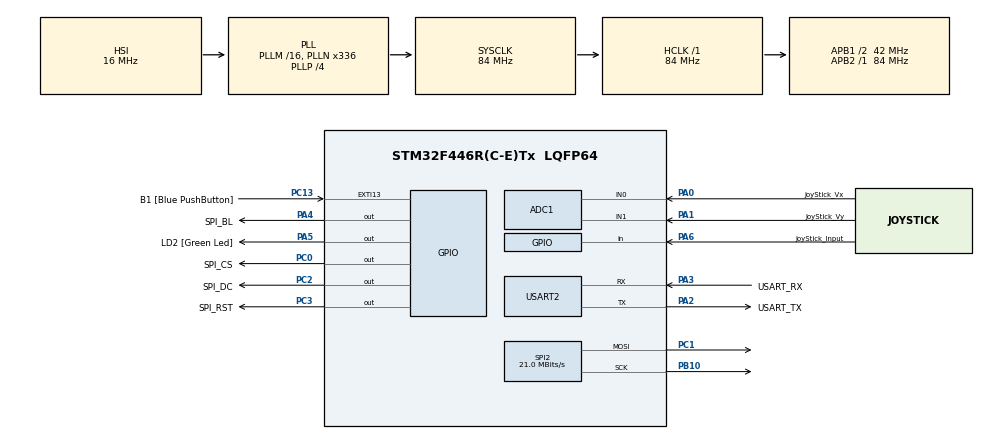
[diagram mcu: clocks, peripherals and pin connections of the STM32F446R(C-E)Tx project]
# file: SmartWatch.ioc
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ADC1.Channel-0\#ChannelRegularConversion=ADC_CHANNEL_0
ADC1.Channel-1\#ChannelRegularConversion=ADC_CHANNEL_1
ADC1.ContinuousConvMode=ENABLE
ADC1.DMAContinuousRequests=ENABLE
ADC1.NbrOfConversion=2
ADC1.NbrOfConversionFlag=1
ADC1.Rank-0\#ChannelRegularConversion=1
ADC1.Rank-1\#ChannelRegularConversion=2
ADC1.SamplingTime-0\#ChannelRegularConversion=ADC_SAMPLETIME_480CYCLES
ADC1.SamplingTime-1\#ChannelRegularConversion=ADC_SAMPLETIME_480CYCLES
ADC1.master=1
Dma.ADC1.1.Direction=DMA_PERIPH_TO_MEMORY
Dma.ADC1.1.FIFOMode=DMA_FIFOMODE_DISABLE
Dma.ADC1.1.Instance=DMA2_Stream0
Dma.ADC1.1.MemDataAlignment=DMA_MDATAALIGN_HALFWORD
Dma.ADC1.1.MemInc=DMA_MINC_ENABLE
Dma.ADC1.1.Mode=DMA_CIRCULAR
Dma.ADC1.1.PeriphDataAlignment=DMA_PDATAALIGN_HALFWORD
Dma.ADC1.1.PeriphInc=DMA_PINC_DISABLE
Dma.ADC1.1.Priority=DMA_PRIORITY_LOW
Dma.Request0=SPI2_TX
Dma.Request1=ADC1
Dma.SPI2_TX.0.Direction=DMA_MEMORY_TO_PERIPH
Dma.SPI2_TX.0.FIFOMode=DMA_FIFOMODE_DISABLE
Dma.SPI2_TX.0.Instance=DMA1_Stream4
Dma.SPI2_TX.0.MemDataAlignment=DMA_MDATAALIGN_BYTE
Dma.SPI2_TX.0.MemInc=DMA_MINC_ENABLE
Dma.SPI2_TX.0.Mode=DMA_NORMAL
Dma.SPI2_TX.0.PeriphDataAlignment=DMA_PDATAALIGN_BYTE
Dma.SPI2_TX.0.PeriphInc=DMA_PINC_DISABLE
Dma.SPI2_TX.0.Priority=DMA_PRIORITY_LOW
FREERTOS.Queues01=directionQueue,8,uint8_t,0,Dynamic,NULL,NULL
FREERTOS.Tasks01=timeTask,24,512,starttimeTask,Default,NULL,Dynamic,NULL,NULL;inputTask,40,128,StartInputTask,Default,NULL,Dynamic,NULL,NULL;LogicTask,40,128,StartLogicTask,Default,NULL,Dynamic,NULL,NULL
FREERTOS.configUSE_NEWLIB_REENTRANT=1
Mcu.Family=STM32F4
Mcu.Name=STM32F446R(C-E)Tx
Mcu.Package=LQFP64
NVIC.DMA1_Stream4_IRQn=true\:5\:0\:false\:false\:true\:true\:false\:true\:true
NVIC.DMA2_Stream0_IRQn=true\:5\:0\:false\:false\:true\:true\:false\:true\:true
NVIC.PriorityGroup=NVIC_PRIORITYGROUP_4
NVIC.TIM1_UP_TIM10_IRQn=true\:15\:0\:false\:false\:true\:false\:false\:true\:true
NVIC.TimeBase=TIM1_UP_TIM10_IRQn
NVIC.TimeBaseIP=TIM1
PA0-WKUP.GPIO_Label=JoyStick_Vx
PA0-WKUP.Signal=ADCx_IN0
PA1.GPIO_Label=JoyStick_Vy
PA1.Signal=ADCx_IN1
PA13.GPIO_Label=TMS
PA13.Mode=Serial_Wire
PA13.Signal=SYS_JTMS-SWDIO
PA14.GPIO_Label=TCK
PA14.Mode=Serial_Wire
PA14.Signal=SYS_JTCK-SWCLK
PA2.GPIO_Label=USART_TX
PA2.Mode=Asynchronous
PA2.Signal=USART2_TX
PA3.GPIO_Label=USART_RX
PA3.Mode=Asynchronous
PA3.Signal=USART2_RX
PA4.GPIO_Label=SPI_BL
PA4.PinState=GPIO_PIN_SET
PA4.Signal=GPIO_Output
PA5.GPIO_Label=LD2 [Green Led]
PA5.Signal=GPIO_Output
PA6.GPIO_Label=JoyStick_Input
PA6.GPIO_PuPd=GPIO_PULLUP
PA6.Signal=GPIO_Input
PB10.Mode=TX_Only_Simplex_Unidirect_Master
PB10.Signal=SPI2_SCK
PB3.GPIO_Label=SWO
PB3.Signal=SYS_JTDO-SWO
PC0.GPIO_Label=SPI_CS
PC0.GPIO_Speed=GPIO_SPEED_FREQ_HIGH
PC0.PinState=GPIO_PIN_SET
PC0.Signal=GPIO_Output
PC1.Mode=TX_Only_Simplex_Unidirect_Master
PC1.Signal=SPI2_MOSI
PC13.GPIO_Label=B1 [Blue PushButton]
PC13.GPIO_ModeDefaultEXTI=GPIO_MODE_IT_FALLING
PC13.Signal=GPXTI13
PC14-OSC32_IN.Mode=LSE-External-Oscillator
PC14-OSC32_IN.Signal=RCC_OSC32_IN
PC15-OSC32_OUT.Mode=LSE-External-Oscillator
PC15-OSC32_OUT.Signal=RCC_OSC32_OUT
PC2.GPIO_Label=SPI_DC
PC2.GPIO_Speed=GPIO_SPEED_FREQ_HIGH
PC2.Signal=GPIO_Output
PC3.GPIO_Label=SPI_RST
PC3.PinState=GPIO_PIN_SET
PC3.Signal=GPIO_Output
PH0-OSC_IN.Mode=HSE-External-Oscillator
PH0-OSC_IN.Signal=RCC_OSC_IN
PH1-OSC_OUT.Mode=HSE-External-Oscillator
PH1-OSC_OUT.Signal=RCC_OSC_OUT
ProjectManager.HeapSize=0x200
ProjectManager.StackSize=0x400
ProjectManager.TargetToolchain=STM32CubeIDE
RCC.48MHZClocksFreq_Value=84000000
RCC.AHBFreq_Value=84000000
RCC.APB1CLKDivider=RCC_HCLK_DIV2
RCC.APB1Freq_Value=42000000
RCC.APB1TimFreq_Value=84000000
RCC.APB2Freq_Value=84000000
RCC.APB2TimFreq_Value=84000000
RCC.CortexFreq_Value=84000000
RCC.FLatency-AdvancedSettings=FLASH_LATENCY_2
RCC.HCLKFreq_Value=84000000
RCC.HSE_VALUE=8000000
RCC.HSI_VALUE=16000000
RCC.PLLN=336
RCC.PLLP=RCC_PLLP_DIV4
RCC.SYSCLKFreq_VALUE=84000000
RCC.SYSCLKSource=RCC_SYSCLKSOURCE_PLLCLK
RCC.USBFreq_Value=168000000
RCC.VCOOutputFreq_Value=336000000
RTC.Date=17
RTC.Format=RTC_FORMAT_BIN
RTC.Hours=12
RTC.WeekDay=RTC_WEEKDAY_SATURDAY
RTC.Year=26
SH.ADCx_IN0.0=ADC1_IN0,IN0
SH.ADCx_IN1.0=ADC1_IN1,IN1
SPI2.CalculateBaudRate=21.0 MBits/s
SPI2.Direction=SPI_DIRECTION_2LINES
SPI2.Mode=SPI_MODE_MASTER
SPI2.VirtualType=VM_MASTER
USART2.VirtualMode=VM_ASYNC
VP_FREERTOS_VS_CMSIS_V2.Mode=CMSIS_V2
VP_RTC_VS_RTC_Activate.Mode=RTC_Enabled
VP_RTC_VS_RTC_Calendar.Mode=RTC_Calendar
VP_SYS_VS_tim1.Mode=TIM1
board=NUCLEO-F446RE

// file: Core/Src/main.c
/* USER CODE BEGIN Header */
/**
  ******************************************************************************
  * @file           : main.c
  * @brief          : Main program body
  ******************************************************************************
  * @attention
  *
  * Copyright (c) 2026 STMicroelectronics.
  * All rights reserved.
  *
  * This software is licensed under terms that can be found in the LICENSE file
  * in the root directory of this software component.
  * If no LICENSE file comes with this software, it is provided AS-IS.
  *
  ******************************************************************************
  */
/* USER CODE END Header */
#include "main.h"
#include "cmsis_os.h"
#include "adc.h"
#include "dma.h"
#include "rtc.h"
#include "spi.h"
#include "usart.h"
#include "gpio.h"

/* USER CODE BEGIN Includes */
#include "st7789.h"
#include "fonts.h"
/* USER CODE END Includes */

/* USER CODE BEGIN PV */
extern uint16_t joystickDMAbuffer[2];
/* USER CODE END PV */

void SystemClock_Config(void);
void MX_FREERTOS_Init(void);

/* USER CODE BEGIN 0 */
int _write(int file, char *ptr, int len)
{
  HAL_UART_Transmit(&huart2, (uint8_t*)ptr, len, HAL_MAX_DELAY);
  return len;
}

/* USER CODE END 0 */

int main(void)
{

  /* MCU Configuration--------------------------------------------------------*/

  /* Reset of all peripherals, Initializes the Flash interface and the Systick. */
  HAL_Init();

  /* Configure the system clock */
  SystemClock_Config();

  /* Initialize all configured peripherals */
  MX_GPIO_Init();
  MX_DMA_Init();
  MX_RTC_Init();
  MX_USART2_UART_Init();
  MX_SPI2_Init();
  MX_ADC1_Init();
  /* USER CODE BEGIN 2 */
  ST7789_Init();
  HAL_ADC_Start_DMA(&hadc1, (uint32_t*)joystickDMAbuffer, 2);
  /* USER CODE END 2 */

  /* Init scheduler */
  osKernelInitialize();  /* Call init function for freertos objects (in cmsis_os2.c) */
  MX_FREERTOS_Init();

  /* Start scheduler */
  osKernelStart();

  /* We should never get here as control is now taken by the scheduler */

  /* Infinite loop */
  while (1)
  {

  }
}

void SystemClock_Config(void)
{
  RCC_OscInitTypeDef RCC_OscInitStruct = {0};
  RCC_ClkInitTypeDef RCC_ClkInitStruct = {0};

  /** Configure the main internal regulator output voltage
  */
  __HAL_RCC_PWR_CLK_ENABLE();
  __HAL_PWR_VOLTAGESCALING_CONFIG(PWR_REGULATOR_VOLTAGE_SCALE3);

  /** Initializes the RCC Oscillators according to the specified parameters
  * in the RCC_OscInitTypeDef structure.
  */
  RCC_OscInitStruct.OscillatorType = RCC_OSCILLATORTYPE_HSI|RCC_OSCILLATORTYPE_LSI;
  RCC_OscInitStruct.LSEState = RCC_LSE_ON;
  RCC_OscInitStruct.HSIState = RCC_HSI_ON;
  RCC_OscInitStruct.HSICalibrationValue = RCC_HSICALIBRATION_DEFAULT;
  RCC_OscInitStruct.LSIState = RCC_LSI_ON;
  RCC_OscInitStruct.PLL.PLLState = RCC_PLL_ON;
  RCC_OscInitStruct.PLL.PLLSource = RCC_PLLSOURCE_HSI;
  RCC_OscInitStruct.PLL.PLLM = 16;
  RCC_OscInitStruct.PLL.PLLN = 336;
  RCC_OscInitStruct.PLL.PLLP = RCC_PLLP_DIV4;
  RCC_OscInitStruct.PLL.PLLQ = 2;
  RCC_OscInitStruct.PLL.PLLR = 2;
  if (HAL_RCC_OscConfig(&RCC_OscInitStruct) != HAL_OK)
  {
    Error_Handler();
  }

  /** Initializes the CPU, AHB and APB buses clocks
  */
  RCC_ClkInitStruct.ClockType = RCC_CLOCKTYPE_HCLK|RCC_CLOCKTYPE_SYSCLK
                              |RCC_CLOCKTYPE_PCLK1|RCC_CLOCKTYPE_PCLK2;
  RCC_ClkInitStruct.SYSCLKSource = RCC_SYSCLKSOURCE_PLLCLK;
  RCC_ClkInitStruct.AHBCLKDivider = RCC_SYSCLK_DIV1;
  RCC_ClkInitStruct.APB1CLKDivider = RCC_HCLK_DIV2;
  RCC_ClkInitStruct.APB2CLKDivider = RCC_HCLK_DIV1;

  if (HAL_RCC_ClockConfig(&RCC_ClkInitStruct, FLASH_LATENCY_2) != HAL_OK)
  {
    Error_Handler();
  }
}

void HAL_TIM_PeriodElapsedCallback(TIM_HandleTypeDef *htim)
{
  if (htim->Instance == TIM1)
  {
    HAL_IncTick();
  }
}

void Error_Handler(void)
{
  __disable_irq();
  while (1)
  {
  }
}

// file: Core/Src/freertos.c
/* USER CODE BEGIN Header */
/**
  ******************************************************************************
  * File Name          : freertos.c
  * Description        : Code for freertos applications
  ******************************************************************************
  * @attention
  *
  * Copyright (c) 2026 STMicroelectronics.
  * All rights reserved.
  *
  * This software is licensed under terms that can be found in the LICENSE file
  * in the root directory of this software component.
  * If no LICENSE file comes with this software, it is provided AS-IS.
  *
  ******************************************************************************
  */
/* USER CODE END Header */

#include "FreeRTOS.h"
#include "task.h"
#include "main.h"
#include "cmsis_os.h"

/* USER CODE BEGIN Includes */
#include "rtc.h"
#include <stdio.h>
#include "st7789.h"
#include "fonts.h"
/* USER CODE END Includes */

/* USER CODE BEGIN PTD */
enum JoyStickDirection
{
	NONE,
	DOWN,
	UP,
	LEFT,
	RIGHT,
	SELECT,
	MIDDLE
};
/* USER CODE END PTD */

/* USER CODE BEGIN Variables */
RTC_TimeTypeDef sTime = {0};
RTC_DateTypeDef sDate = {0};

//for time
char timeStr[20];
char dateStr[20];

//for joystick
uint16_t x_value;
uint16_t y_value;
uint16_t joystickDMAbuffer[2];
uint8_t last_state_x = 0;
uint8_t last_state_y = 0;
uint8_t last_state_press = 0;
uint8_t current_location;

//for logic
uint8_t command;
int8_t menu_index_x = 0;
int8_t menu_index_y = 0;
int8_t menu_index_select = 0;
/* USER CODE END Variables */
/* Definitions for timeTask */
osThreadId_t timeTaskHandle;
const osThreadAttr_t timeTask_attributes = {
  .name = "timeTask",
  .stack_size = 512 * 4,
  .priority = (osPriority_t) osPriorityNormal,
};
/* Definitions for inputTask */
osThreadId_t inputTaskHandle;
const osThreadAttr_t inputTask_attributes = {
  .name = "inputTask",
  .stack_size = 128 * 4,
  .priority = (osPriority_t) osPriorityHigh,
};
/* Definitions for LogicTask */
osThreadId_t LogicTaskHandle;
const osThreadAttr_t LogicTask_attributes = {
  .name = "LogicTask",
  .stack_size = 128 * 4,
  .priority = (osPriority_t) osPriorityHigh,
};
/* Definitions for directionQueue */
osMessageQueueId_t directionQueueHandle;
const osMessageQueueAttr_t directionQueue_attributes = {
  .name = "directionQueue"
};

/* USER CODE BEGIN FunctionPrototypes */
void Get_Time_Date_Function(void);
void Display_time(void);
void Display_Date(void);
void GetJoyStickValue(void);
void X_Direction(void);
void Y_Direction(void);
void logic_handler(void);
void Pressed_Button(void);
/* USER CODE END FunctionPrototypes */

void starttimeTask(void *argument);
void StartInputTask(void *argument);
void StartLogicTask(void *argument);

void MX_FREERTOS_Init(void); /* (MISRA C 2004 rule 8.1) */

void MX_FREERTOS_Init(void) {

  /* Create the queue(s) */
  /* creation of directionQueue */
  directionQueueHandle = osMessageQueueNew (8, sizeof(uint8_t), &directionQueue_attributes);

  /* Create the thread(s) */
  /* creation of timeTask */
  timeTaskHandle = osThreadNew(starttimeTask, NULL, &timeTask_attributes);

  /* creation of inputTask */
  inputTaskHandle = osThreadNew(StartInputTask, NULL, &inputTask_attributes);

  /* creation of LogicTask */
  LogicTaskHandle = osThreadNew(StartLogicTask, NULL, &LogicTask_attributes);

}

void starttimeTask(void *argument)
{
  /* USER CODE BEGIN starttimeTask */
  /* Infinite loop */
	ST7789_Fill_Color(BLACK);
  for(;;)
  {
	  Get_Time_Date_Function();
	  Display_time();
	  Display_Date();
	  osDelay(1000);
  }
  /* USER CODE END starttimeTask */
}

void StartInputTask(void *argument)
{
  /* USER CODE BEGIN StartInputTask */
  /* Infinite loop */
  for(;;)
  {
	GetJoyStickValue();
	X_Direction();
	Y_Direction();
	Pressed_Button();
    osDelay(10);
  }
  /* USER CODE END StartInputTask */
}

void StartLogicTask(void *argument)
{
  /* USER CODE BEGIN StartLogicTask */
  /* Infinite loop */
  for(;;)
  {
	logic_handler();
    osDelay(1);
  }
  /* USER CODE END StartLogicTask */
}

/* USER CODE BEGIN Application */
void Get_Time_Date_Function(void)
{
	HAL_RTC_GetTime(&hrtc, &sTime, RTC_FORMAT_BIN);
	HAL_RTC_GetDate(&hrtc, &sDate, RTC_FORMAT_BIN);
}

void Display_time(void)
{
	ST7789_WriteString(10, 10, "Current time is: ", Font_11x18, CYAN, BLACK);
	sprintf(timeStr, "%d:%02d:%02d", sTime.Hours, sTime.Minutes, sTime.Seconds);
	ST7789_WriteString(10, 30, timeStr, Font_11x18, CYAN, BLACK);
}

void Display_Date(void)
{
	ST7789_WriteString(10, 50, "Current date is: ", Font_11x18, CYAN, BLACK);
	sprintf(dateStr, "%02d/%d/20%d", sDate.Month, sDate.Date, sDate.Year);
	ST7789_WriteString(10, 70, dateStr, Font_11x18, CYAN, BLACK);
}

void GetJoyStickValue(void)
{
	x_value = joystickDMAbuffer[0];
	y_value = joystickDMAbuffer[1];
}

void X_Direction(void)
{
	if (x_value > 4000 && last_state_x != UP)
	{
		current_location = UP;
		osMessageQueuePut(directionQueueHandle, &current_location, 1, 0);
		last_state_x = UP;
	}
	if (x_value < 1000 && last_state_x != DOWN)
	{
		current_location = DOWN;
		osMessageQueuePut(directionQueueHandle, &current_location, 1, 0);
		last_state_x = DOWN;
	}
	if (x_value > 1500 && x_value < 2500)
	{
		last_state_x = MIDDLE;
	}
}

void Y_Direction(void)
{
	if (y_value > 4000 && last_state_y != RIGHT)
	{
		current_location = RIGHT;
		osMessageQueuePut(directionQueueHandle, &current_location, 1, 0);
		last_state_y = RIGHT;
	}
	if (y_value < 1000 && last_state_y != LEFT)
	{
		current_location = LEFT;
		osMessageQueuePut(directionQueueHandle, &current_location, 1, 0);
		last_state_y = LEFT;
	}
	if (y_value > 1500 && y_value < 2500)
	{
		last_state_y = MIDDLE;
	}
}

void Pressed_Button(void)
{
	if (HAL_GPIO_ReadPin(JoyStick_Input_GPIO_Port, JoyStick_Input_Pin) == 0 && last_state_press != SELECT)
	{
		current_location = SELECT;
		osMessageQueuePut(directionQueueHandle, &current_location, 1, 0);
		last_state_press = SELECT;
	}
	else
	{
		last_state_press = NONE;
	}
}

void logic_handler(void)
{
	osStatus_t status = osMessageQueueGet(directionQueueHandle, &command, NULL, osWaitForever);
	if ((status == osOK))
	{
		switch (command) {
		case UP:
			menu_index_x++;
			if (menu_index_x > 1)
			{
				menu_index_x = 0;
			}
			else if (menu_index_x < 0)
			{
				menu_index_x = 1;
			}
			printf("%d\r\n",menu_index_x);
			break;
		case DOWN:
			menu_index_x--;
			if (menu_index_x > 1)
			{
				menu_index_x = 0;
			}
			else if (menu_index_x < 0)
			{
				menu_index_x = 1;
			}
			printf("%d\r\n",menu_index_x);
			break;
		case LEFT:
			menu_index_y++;
			if (menu_index_y > 1)
			{
				menu_index_y = 0;
			}
			else if (menu_index_y < 0)
			{
				menu_index_y = 1;
			}
			printf("%d\r\n",menu_index_y);
			break;
		case RIGHT:
			menu_index_y--;
			if (menu_index_y < 0)
			{
				menu_index_y = 1;
			}
			else if (menu_index_y > 1)
			{
				menu_index_y = 0;
			}
			printf("%d\r\n",menu_index_y);
			break;
		case SELECT:
			if ((menu_index_select == 0))
			{
				printf("Selected\r\n");
				menu_index_select++;
			}
			else
			{
				menu_index_select = 0;
			}
		}
	}
}
/* USER CODE END Application */
